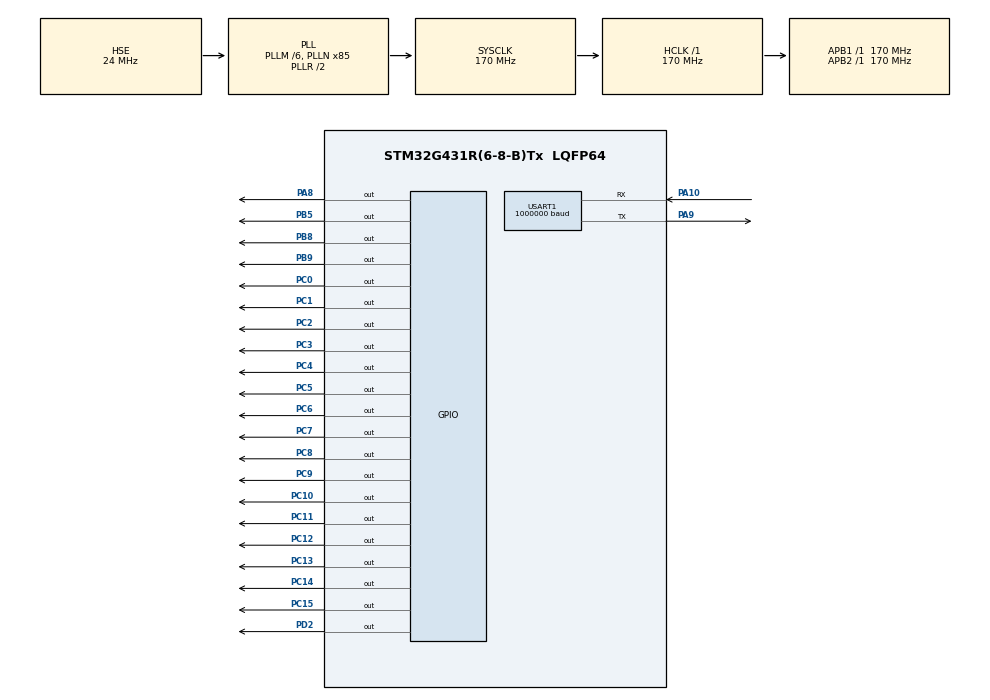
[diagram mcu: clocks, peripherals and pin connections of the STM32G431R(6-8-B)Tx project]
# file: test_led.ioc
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Dma.Request0=USART1_RX
Dma.USART1_RX.0.Direction=DMA_PERIPH_TO_MEMORY
Dma.USART1_RX.0.EventEnable=DISABLE
Dma.USART1_RX.0.Instance=DMA1_Channel1
Dma.USART1_RX.0.MemDataAlignment=DMA_MDATAALIGN_BYTE
Dma.USART1_RX.0.MemInc=DMA_MINC_ENABLE
Dma.USART1_RX.0.Mode=DMA_NORMAL
Dma.USART1_RX.0.PeriphDataAlignment=DMA_PDATAALIGN_BYTE
Dma.USART1_RX.0.PeriphInc=DMA_PINC_DISABLE
Dma.USART1_RX.0.Polarity=HAL_DMAMUX_REQ_GEN_RISING
Dma.USART1_RX.0.Priority=DMA_PRIORITY_VERY_HIGH
Dma.USART1_RX.0.RequestNumber=1
Dma.USART1_RX.0.SignalID=NONE
Dma.USART1_RX.0.SyncEnable=DISABLE
Dma.USART1_RX.0.SyncPolarity=HAL_DMAMUX_SYNC_NO_EVENT
Dma.USART1_RX.0.SyncRequestNumber=1
Dma.USART1_RX.0.SyncSignalID=NONE
Mcu.Family=STM32G4
Mcu.Name=STM32G431R(6-8-B)Tx
Mcu.Package=LQFP64
NVIC.DMA1_Channel1_IRQn=true\:0\:0\:false\:false\:true\:false\:true\:true
NVIC.PriorityGroup=NVIC_PRIORITYGROUP_4
NVIC.USART1_IRQn=true\:0\:0\:false\:false\:true\:true\:true\:true
PA10.GPIO_ModeDefaultPP=GPIO_MODE_AF_OD
PA10.Mode=Asynchronous
PA10.Signal=USART1_RX
PA13.Mode=Serial_Wire
PA13.Signal=SYS_JTMS-SWDIO
PA14.Mode=Serial_Wire
PA14.Signal=SYS_JTCK-SWCLK
PA8.Signal=GPIO_Output
PA9.GPIO_ModeDefaultPP=GPIO_MODE_AF_OD
PA9.Mode=Asynchronous
PA9.Signal=USART1_TX
PB5.Signal=GPIO_Output
PB8-BOOT0.Signal=GPIO_Output
PB9.Signal=GPIO_Output
PC0.Signal=GPIO_Output
PC1.Signal=GPIO_Output
PC10.GPIO_PuPd=GPIO_NOPULL
PC10.PinState=GPIO_PIN_SET
PC10.Signal=GPIO_Output
PC11.GPIO_PuPd=GPIO_NOPULL
PC11.PinState=GPIO_PIN_SET
PC11.Signal=GPIO_Output
PC12.GPIO_PuPd=GPIO_NOPULL
PC12.PinState=GPIO_PIN_SET
PC12.Signal=GPIO_Output
PC13.GPIO_PuPd=GPIO_NOPULL
PC13.PinState=GPIO_PIN_SET
PC13.Signal=GPIO_Output
PC14-OSC32_IN.GPIO_PuPd=GPIO_NOPULL
PC14-OSC32_IN.PinState=GPIO_PIN_SET
PC14-OSC32_IN.Signal=GPIO_Output
PC15-OSC32_OUT.GPIO_PuPd=GPIO_NOPULL
PC15-OSC32_OUT.PinState=GPIO_PIN_SET
PC15-OSC32_OUT.Signal=GPIO_Output
PC2.Signal=GPIO_Output
PC3.Signal=GPIO_Output
PC4.Signal=GPIO_Output
PC5.Signal=GPIO_Output
PC6.Signal=GPIO_Output
PC7.Signal=GPIO_Output
PC8.GPIO_PuPd=GPIO_NOPULL
PC8.PinState=GPIO_PIN_SET
PC8.Signal=GPIO_Output
PC9.GPIO_PuPd=GPIO_NOPULL
PC9.PinState=GPIO_PIN_SET
PC9.Signal=GPIO_Output
PD2.GPIO_PuPd=GPIO_NOPULL
PD2.Signal=GPIO_Output
PF0-OSC_IN.Mode=HSE-External-Oscillator
PF0-OSC_IN.Signal=RCC_OSC_IN
PF1-OSC_OUT.Mode=HSE-External-Oscillator
PF1-OSC_OUT.Signal=RCC_OSC_OUT
ProjectManager.HeapSize=0xf00
ProjectManager.StackSize=0xf00
ProjectManager.TargetToolchain=MDK-ARM V5.32
RCC.ADC12Freq_Value=170000000
RCC.AHBFreq_Value=170000000
RCC.APB1Freq_Value=170000000
RCC.APB1TimFreq_Value=170000000
RCC.APB2Freq_Value=170000000
RCC.APB2TimFreq_Value=170000000
RCC.CortexFreq_Value=170000000
RCC.EXTERNAL_CLOCK_VALUE=12288000
RCC.HCLKFreq_Value=170000000
RCC.HSE_VALUE=24000000
RCC.HSI48_VALUE=48000000
RCC.HSI_VALUE=16000000
RCC.LSE_VALUE=32768
RCC.PLLM=RCC_PLLM_DIV6
RCC.PLLN=85
RCC.PLLSourceVirtual=RCC_PLLSOURCE_HSE
RCC.SYSCLKFreq_VALUE=170000000
RCC.SYSCLKSource=RCC_SYSCLKSOURCE_PLLCLK
RCC.USBFreq_Value=170000000
RCC.VCOOutputFreq_Value=340000000
USART1.AutoBaudRateEnableParam=UART_ADVFEATURE_AUTOBAUDRATE_DISABLE
USART1.BaudRate=1000000
USART1.MSBFirstParam=ADVFEATURE_MSBFIRST_DISABLE
USART1.Mode=MODE_RX
USART1.VirtualMode-Asynchronous=VM_ASYNC
VP_SYS_VS_DBSignals.Mode=DisableDeadBatterySignals
board=custom

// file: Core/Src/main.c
/* USER CODE BEGIN Header */
/**
 ******************************************************************************
 * @file           : main.c
 * @brief          : Main program body
 ******************************************************************************
 * @attention
 *
 * Copyright (c) 2023 STMicroelectronics.
 * All rights reserved.
 *
 * This software is licensed under terms that can be found in the LICENSE file
 * in the root directory of this software component.
 * If no LICENSE file comes with this software, it is provided AS-IS.
 *
 ******************************************************************************
 */
/* USER CODE END Header */
#include "main.h"
#include "dma.h"
#include "usart.h"
#include "gpio.h"

/* USER CODE BEGIN Includes */
#include "led.h"
#include "lcd.h"
#include "bsp_dma.h"
#include "stm32g4xx_hal_uart.h"
#include "string.h"
/* USER CODE END Includes */

/* USER CODE BEGIN PTD */
#define UART_IT_BUFF_SIZE 9600U
/* USER CODE END PTD */

void SystemClock_Config(void);

/* USER CODE BEGIN 0 */
// void HAL_UART_RxCpltCallback(UART_HandleTypeDef *huart)
// {
//   if (buf == 1) // 若果当前是使用的是buf1
//   {
//     buf = 2;                                                       // 下次使用buf2
//     disp = 1;                                                      // 告诉main显示buf1的内容到屏幕
//     HAL_UART_Receive_DMA(&huart1, uart_rx_buf2, UART_IT_BUFF_SIZE); // 切换为buf2
//   }
//   else
//   {
//     buf = 1;                                                       // 下次使用buf1
//     disp = 2;                                                      // 告诉main显示buf2的内容到屏幕
//     HAL_UART_Receive_DMA(&huart1, uart_rx_buf1, UART_IT_BUFF_SIZE); // 切换为buf1
//   }
// }

// void HAL_UART_RxCpltCallback(UART_HandleTypeDef *huart)
// {
//   if (buf == 1) // 若果当前是使用的是buf1
//   {
//     buf = 2;                                                      // 下次使用buf2
//     disp = 1;                                                     // 告诉main显示buf1的内容到屏幕
//     HAL_UART_Receive_IT(&huart1, uart_rx_buf2, UART_IT_BUFF_SIZE); // 切换为buf2
//   }
//   else
//   {
//     buf = 1;                                                      // 下次使用buf1
//     disp = 2;                                                     // 告诉main显示buf2的内容到屏幕
//     HAL_UART_Receive_IT(&huart1, uart_rx_buf1, UART_IT_BUFF_SIZE); // 切换为buf1
//   }
// }

void HAL_UARTEx_RxEventCallback(UART_HandleTypeDef *huart, uint16_t Size)
{

  {
    if (buf == 1) // 若果当前是使用的是buf1
    {
      buf = 2;  // 下次使用buf2
      disp = 1; // 告诉main显示buf1的内容到屏幕

      HAL_UARTEx_ReceiveToIdle_IT(&huart1, uart_rx_buf2, UART_IT_BUFF_SIZE); // 切换为buf2
    }
    else
    {
      buf = 1;  // 下次使用buf1
      disp = 2; // 告诉main显示buf2的内容到屏幕

      HAL_UARTEx_ReceiveToIdle_IT(&huart1, uart_rx_buf1, UART_IT_BUFF_SIZE); // 切换为buf1
    }
  }
}

// void HAL_UARTEx_RxEventCallback(UART_HandleTypeDef *huart, uint16_t Size)
// {

//   {
//     if (buf == 1) // 若果当前是使用的是buf1
//     {
//       buf = 2;  // 下次使用buf2
//       disp = 1; // 告诉main显示buf1的内容到屏幕

//       HAL_UARTEx_ReceiveToIdle_DMA(&huart1, uart_rx_buf2, UART_IT_BUFF_SIZE); // 切换为buf2
//     }
//     else
//     {
//       buf = 1;  // 下次使用buf1
//       disp = 2; // 告诉main显示buf2的内容到屏幕

//       HAL_UARTEx_ReceiveToIdle_DMA(&huart1, uart_rx_buf1, UART_IT_BUFF_SIZE); // 切换为buf1
//     }
//   }
// }

/* USER CODE END 0 */

int main(void)
{

  /* MCU Configuration--------------------------------------------------------*/

  /* Reset of all peripherals, Initializes the Flash interface and the Systick. */
  HAL_Init();

  /* Configure the system clock */
  SystemClock_Config();

  /* Initialize all configured peripherals */
  MX_GPIO_Init();
  MX_DMA_Init();
  MX_USART1_UART_Init();
  /* USER CODE BEGIN 2 */

  LCD_Init();

  LCD_Clear(Black);
  LCD_SetBackColor(Black);
  LCD_SetTextColor(White);

  HAL_GPIO_WritePin(GPIOD, GPIO_PIN_2, GPIO_PIN_SET);
  HAL_GPIO_WritePin(GPIOC, GPIO_PIN_All, GPIO_PIN_SET);
  HAL_GPIO_WritePin(GPIOD, GPIO_PIN_2, GPIO_PIN_RESET);

  // HAL_UART_Receive_IT(&huart1, uart_rx_buf1, UART_IT_BUFF_SIZE);
  // HAL_UART_Receive_DMA(&huart1, uart_rx_buf1, UART_IT_BUFF_SIZE); // 设置串口中断缓冲区及中断阈值(当前为1)
  HAL_UARTEx_ReceiveToIdle_IT(&huart1, uart_rx_buf1, UART_IT_BUFF_SIZE);
  // HAL_UARTEx_ReceiveToIdle_DMA(&huart1, uart_rx_buf1, UART_IT_BUFF_SIZE);
  /* USER CODE END 2 */

  /* Infinite loop */
  /* USER CODE BEGIN WHILE */
  while (1)
  {
    if (disp == 1)
    {
      disp = 0;
      LCD_UartPic(uart_rx_buf1);
    }
    else if (disp == 2)
    {
      disp = 0;
      LCD_UartPic(uart_rx_buf2);
    }

    /* USER CODE END WHILE */

  }
}

void SystemClock_Config(void)
{
  RCC_OscInitTypeDef RCC_OscInitStruct = {0};
  RCC_ClkInitTypeDef RCC_ClkInitStruct = {0};

  /** Configure the main internal regulator output voltage
  */
  HAL_PWREx_ControlVoltageScaling(PWR_REGULATOR_VOLTAGE_SCALE1_BOOST);

  /** Initializes the RCC Oscillators according to the specified parameters
  * in the RCC_OscInitTypeDef structure.
  */
  RCC_OscInitStruct.OscillatorType = RCC_OSCILLATORTYPE_HSE;
  RCC_OscInitStruct.HSEState = RCC_HSE_ON;
  RCC_OscInitStruct.PLL.PLLState = RCC_PLL_ON;
  RCC_OscInitStruct.PLL.PLLSource = RCC_PLLSOURCE_HSE;
  RCC_OscInitStruct.PLL.PLLM = RCC_PLLM_DIV6;
  RCC_OscInitStruct.PLL.PLLN = 85;
  RCC_OscInitStruct.PLL.PLLP = RCC_PLLP_DIV2;
  RCC_OscInitStruct.PLL.PLLQ = RCC_PLLQ_DIV2;
  RCC_OscInitStruct.PLL.PLLR = RCC_PLLR_DIV2;
  if (HAL_RCC_OscConfig(&RCC_OscInitStruct) != HAL_OK)
  {
    Error_Handler();
  }

  /** Initializes the CPU, AHB and APB buses clocks
  */
  RCC_ClkInitStruct.ClockType = RCC_CLOCKTYPE_HCLK|RCC_CLOCKTYPE_SYSCLK
                              |RCC_CLOCKTYPE_PCLK1|RCC_CLOCKTYPE_PCLK2;
  RCC_ClkInitStruct.SYSCLKSource = RCC_SYSCLKSOURCE_PLLCLK;
  RCC_ClkInitStruct.AHBCLKDivider = RCC_SYSCLK_DIV1;
  RCC_ClkInitStruct.APB1CLKDivider = RCC_HCLK_DIV1;
  RCC_ClkInitStruct.APB2CLKDivider = RCC_HCLK_DIV1;

  if (HAL_RCC_ClockConfig(&RCC_ClkInitStruct, FLASH_LATENCY_4) != HAL_OK)
  {
    Error_Handler();
  }
}

void Error_Handler(void)
{
  __disable_irq();
  while (1)
  {
  }
}
